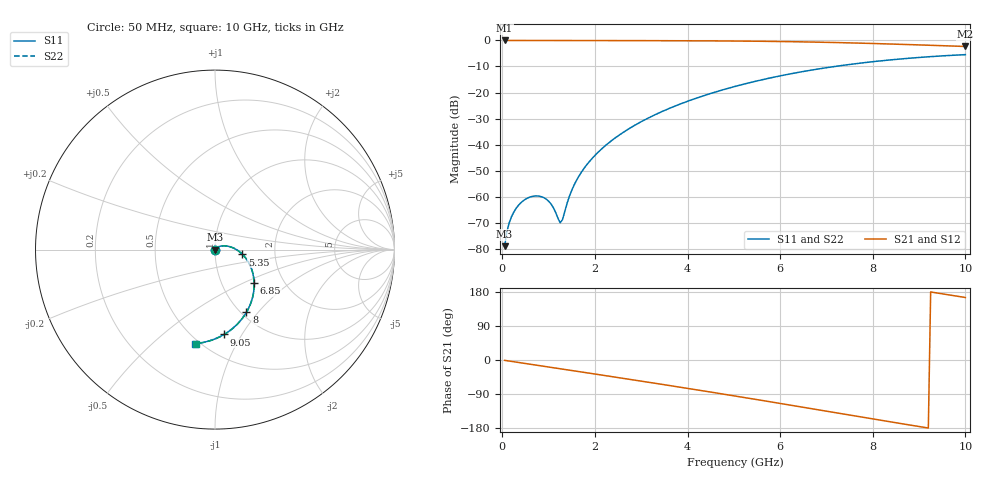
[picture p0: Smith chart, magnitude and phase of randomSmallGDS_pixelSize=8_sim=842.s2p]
! freq	dB(S11)	phase(S11)	dB(S12)	phase(S12)
!  dB(S21)	phase(S21)	dB(S22)	phase(S22)
!S-par simulation data
#  GHz  S  DB  R 50
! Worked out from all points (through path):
!   200 points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, 50 MHz to 10 GHz, reference 50 ohm
!   highest |S21| = 0.00 dB at 50 MHz (marker M1); lowest = -2.3 dB at 10 GHz (marker M2)
!   group delay of S21, straight-line fit = 54.6 ps
!   lowest |S11| = -79.0 dB at 50 MHz (marker M3), VSWR 1.00, Z = 50 - j0.0107 ohm
!   |S11| at or under -10 dB: start of sweep to 7.176 GHz
!   |S22| runs from -79.0 to -5.4 dB; largest |S21 - S12| = 0
!   S11 on the Smith chart (normalised r, x): 50 MHz: 1.00, -0.00; 5.35 GHz: 1.36, -0.07; 6.85 GHz: 1.42, -0.57; 8 GHz: 1.05, -0.87; 9.05 GHz: 0.69, -0.84; 10 GHz: 0.48, -0.70
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0.05  -78.99 -71.6  -0.00 -0.9  -0.00 -0.9  -78.99 -71.6
0.1  -73.39 -82.3  -0.00 -1.9  -0.00 -1.9  -73.40 -82.4
0.2  -67.64 -89.8  -0.00 -3.7  -0.00 -3.7  -67.64 -89.8
0.35  -63.28 -95.6  -0.01 -6.5  -0.01 -6.5  -63.28 -95.8
0.55  -60.48 -102.0  -0.01 -10.2  -0.01 -10.2  -60.48 -102.3
0.75  -59.70 -108.8  -0.02 -13.9  -0.02 -13.9  -59.70 -109.3
0.95  -60.96 -118.2  -0.02 -17.6  -0.02 -17.6  -60.94 -119.0
1.1  -64.14 -132.4  -0.02 -20.3  -0.02 -20.3  -64.05 -133.9
1.25  -69.99 171.2  -0.03 -23.1  -0.03 -23.1  -69.42 170.1
1.3  -68.81 134.1  -0.03 -24.0  -0.03 -24.0  -68.29 135.3
1.5  -57.53 82.2  -0.03 -27.7  -0.03 -27.7  -57.45 83.5
1.75  -49.50 68.1  -0.04 -32.4  -0.04 -32.4  -49.48 68.9
2.4  -37.92 50.4  -0.05 -44.4  -0.05 -44.4  -37.92 50.7
3.4  -27.69 29.2  -0.08 -63.3  -0.08 -63.3  -27.68 29.4
5.05  -17.54 -3.9  -0.22 -95.5  -0.22 -95.5  -17.53 -3.7
5.35  -16.18 -9.9  -0.27 -101.5  -0.27 -101.5  -16.18 -9.8
6.7  -11.31 -37.3  -0.61 -128.9  -0.61 -128.9  -11.30 -37.1
6.85  -10.87 -40.3  -0.66 -132.0  -0.66 -132.0  -10.87 -40.2
8  -8.16 -63.5  -1.16 -155.5  -1.16 -155.5  -8.16 -63.3
8.35  -7.52 -70.4  -1.34 -162.6  -1.34 -162.6  -7.52 -70.2
9.05  -6.46 -83.9  -1.74 -176.5  -1.74 -176.5  -6.46 -83.8
10  -5.44 -101.8  -2.31 164.9  -2.31 164.9  -5.44 -101.6
